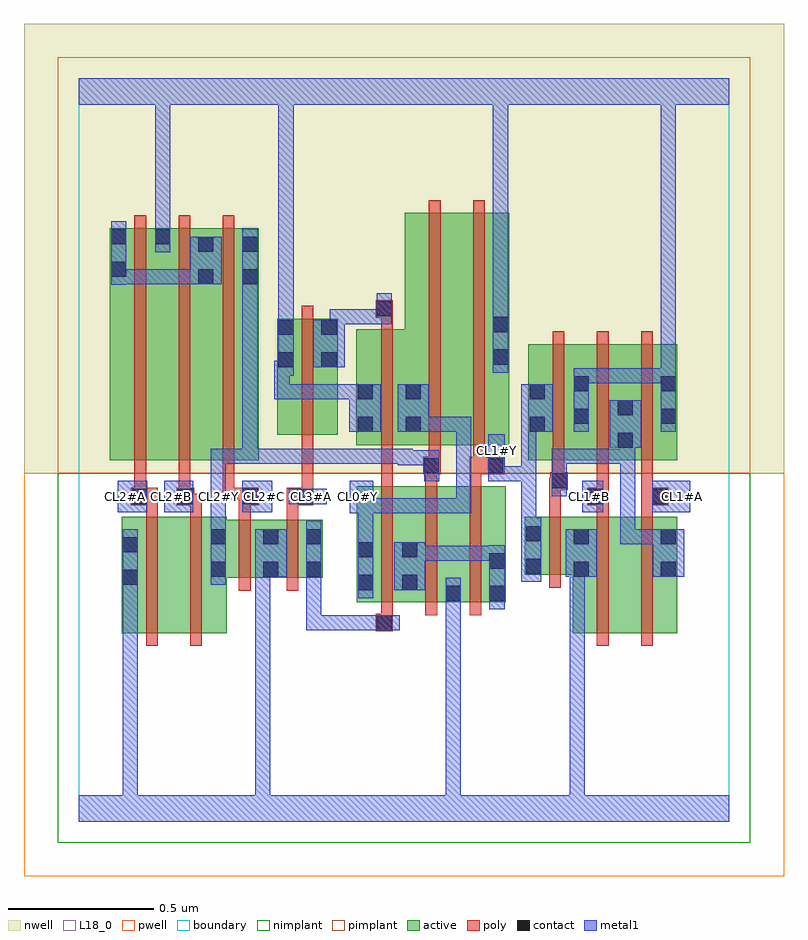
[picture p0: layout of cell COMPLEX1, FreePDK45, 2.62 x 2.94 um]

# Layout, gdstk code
import gdstk
lib = gdstk.Library(unit=1e-6, precision=1e-09)
def R(c, l, rs):  # rectangles x0, y0, x1, y1
    for r in rs: c.add(gdstk.rectangle(r[:2], r[2:], *l))
def A(c, l, x, y, w, h, nx, ny, dx, dy):  # array of equal rectangles
    R(c, l, [(x+i*dx, y+j*dy, x+i*dx+w, y+j*dy+h) for i in range(nx) for j in range(ny)])
active = (1, 0)
pwell = (2, 0)
nwell = (3, 0)
nimplant = (4, 0)
pimplant = (5, 0)
poly = (9, 0)
contact = (10, 0)
metal1 = (11, 0)
L18_0 = (18, 0)
boundary = (235, 0)

complex1 = lib.new_cell('COMPLEX1')
A(complex1, active, 1.11, 0.756, 0.06, 0.4, 3, 1, 0.15, 0)
A(complex1, active, 1.548, 1.244, 0.06, 0.4, 3, 1, 0.152, 0)
R(complex1, active, [(0.148,0.65,0.328,1.05), (0.148,0.65,0.208,1.05), (0.328,0.65,0.51,1.05), (0.45,0.65,0.51,1.012), (1.7,0.65,1.88,1.05), (1.88,0.65,2.06,1.05), (0.958,0.756,1.018,1.156), (0.958,0.756,1.17,1.156), (1.11,0.756,1.32,1.156), (1.26,0.756,1.47,1.156), (2,0.756,2.06,1.05), (0.45,0.84,0.692,1.04), (0.632,0.84,0.692,1.012), (0.632,0.84,0.84,1.04), (0.78,0.84,0.84,1.04), (1.7,0.84,1.76,1.012), (1.536,0.85,1.76,1.05), (1.536,0.85,1.596,1.05), (0.108,1.244,0.168,2.044), (0.108,1.244,0.32,2.044), (0.26,1.244,0.32,2.044), (0.26,1.244,0.468,2.044), (0.408,1.244,0.468,2.044), (0.408,1.244,0.62,2.044), (0.56,1.244,0.62,2.044), (1.548,1.244,1.76,1.644), (1.7,1.244,1.912,1.644), (1.852,1.244,2.06,1.644), (2,1.244,2.06,1.644), (0.956,1.296,1.016,1.696), (0.956,1.296,1.182,1.696), (1.122,1.296,1.302,2.096), (1.302,1.296,1.482,2.096), (1.422,1.296,1.482,2.096), (1.122,1.306,1.182,2.096), (0.684,1.332,0.744,1.732), (0.684,1.332,0.892,1.732), (0.832,1.332,0.892,1.732)])
R(complex1, pwell, [(-0.188,-0.188,2.428,1.2)])
R(complex1, nwell, [(-0.188,1.2,2.428,2.748)])
R(complex1, nimplant, [(-0.072,-0.072,2.312,1.2)])
R(complex1, pimplant, [(-0.072,1.2,2.312,2.632)])
A(complex1, poly, 1.042, 0.712, 0.04, 0.488, 3, 1, 0.152, 0)
A(complex1, poly, 0.192, 1.11, 0.04, 0.13, 3, 1, 0.152, 0)
A(complex1, poly, 1.042, 1.16, 0.04, 0.076, 3, 1, 0.152, 0)
A(complex1, poly, 0.192, 1.2, 0.04, 0.888, 3, 1, 0.152, 0)
A(complex1, poly, 1.632, 1.2, 0.04, 0.488, 3, 1, 0.152, 0)
R(complex1, poly, [(0.232,0.606,0.272,1.094), (0.384,0.606,0.424,1.094), (1.784,0.606,1.824,1.094), (1.936,0.606,1.976,1.094), (1.022,0.656,1.082,0.716), (1.042,0.676,1.082,0.752), (0.552,0.796,0.592,1.084), (0.716,0.796,0.756,1.084), (1.62,0.806,1.66,1.094), (0.552,1.044,0.592,1.13), (0.716,1.044,0.756,1.13), (0.232,1.054,0.272,1.13), (0.384,1.054,0.424,1.13), (1.62,1.054,1.66,1.184), (1.784,1.054,1.824,1.13), (1.936,1.054,1.976,1.13), (0.18,1.09,0.272,1.15), (0.338,1.09,0.398,1.15), (0.358,1.09,0.398,1.13), (0.358,1.09,0.424,1.13), (0.552,1.09,0.62,1.15), (0.716,1.09,0.808,1.15), (1.75,1.09,1.824,1.15), (1.936,1.09,1.976,1.13), (1.936,1.09,1.976,1.13), (1.936,1.09,2.03,1.15), (0.192,1.11,0.232,1.15), (0.192,1.11,0.232,1.15), (0.496,1.11,0.592,1.15), (0.552,1.11,0.592,1.15), (0.768,1.11,0.808,1.15), (0.768,1.11,0.808,1.15), (0.768,1.11,0.808,1.328), (1.784,1.11,1.824,1.24), (1.784,1.11,1.824,1.15), (1.784,1.11,1.824,1.15), (1.936,1.11,1.976,1.24), (1.62,1.144,1.664,1.184), (1.624,1.144,1.664,1.184), (1.624,1.144,1.684,1.204), (1.632,1.164,1.672,1.24), (1.042,1.196,1.082,1.236), (1.042,1.196,1.082,1.236), (1.042,1.196,1.082,1.236), (1.042,1.196,1.082,1.292), (1.186,1.196,1.246,1.256), (1.194,1.196,1.234,1.236), (1.194,1.196,1.234,1.236), (1.346,1.196,1.466,1.256), (1.206,1.216,1.246,1.292), (1.358,1.216,1.398,1.256), (1.358,1.216,1.398,1.256), (1.358,1.216,1.398,1.292), (1.042,1.252,1.082,1.74), (1.206,1.252,1.246,2.14), (1.358,1.252,1.398,2.14), (0.768,1.288,0.808,1.776), (1.042,1.7,1.082,1.776), (1.022,1.736,1.082,1.796)])
R(complex1, contact, [(1.026,0.66,1.078,0.712), (1.264,0.76,1.316,0.812), (1.414,0.76,1.466,0.812), (0.962,0.798,1.014,0.85), (1.114,0.798,1.166,0.85), (0.152,0.816,0.204,0.868), (0.454,0.844,0.506,0.896), (0.636,0.844,0.688,0.896), (0.784,0.844,0.836,0.896), (1.704,0.844,1.756,0.896), (2.004,0.844,2.056,0.896), (1.54,0.854,1.592,0.906), (1.414,0.872,1.466,0.924), (0.962,0.91,1.014,0.962), (1.114,0.91,1.166,0.962), (0.152,0.928,0.204,0.98), (0.454,0.956,0.506,1.008), (0.636,0.956,0.688,1.008), (0.784,0.956,0.836,1.008), (1.704,0.956,1.756,1.008), (2.004,0.956,2.056,1.008), (1.54,0.966,1.592,1.018), (0.184,1.094,0.236,1.146), (0.342,1.094,0.394,1.146), (0.564,1.094,0.616,1.146), (0.752,1.094,0.804,1.146), (1.754,1.094,1.806,1.146), (1.974,1.094,2.026,1.146), (1.628,1.148,1.68,1.2), (1.19,1.2,1.242,1.252), (1.41,1.2,1.462,1.252), (1.856,1.288,1.908,1.34), (0.96,1.342,1.012,1.394), (1.126,1.342,1.178,1.394), (1.552,1.342,1.604,1.394), (1.704,1.37,1.756,1.422), (2.004,1.37,2.056,1.422), (1.856,1.4,1.908,1.452), (0.96,1.454,1.012,1.506), (1.126,1.454,1.178,1.506), (1.552,1.454,1.604,1.506), (1.704,1.482,1.756,1.534), (2.004,1.482,2.056,1.534), (0.688,1.564,0.74,1.616), (0.836,1.564,0.888,1.616), (1.426,1.574,1.478,1.626), (0.688,1.676,0.74,1.728), (0.836,1.676,0.888,1.728), (1.426,1.686,1.478,1.738), (1.026,1.74,1.078,1.792), (0.412,1.85,0.464,1.902), (0.564,1.85,0.616,1.902), (0.112,1.876,0.164,1.928), (0.412,1.962,0.464,2.014), (0.564,1.962,0.616,2.014), (0.112,1.988,0.164,2.04), (0.264,1.988,0.316,2.04)])
A(complex1, metal1, 0.454, 1.232, 0.052, 0.052, 3, 1, 0.11, 0)
R(complex1, metal1, [(0,0,2.24,0.092), (0.152,0.04,0.204,0.092), (0.152,0.04,0.204,0.092), (0.152,0.04,0.204,0.092), (0.152,0.04,0.204,0.092), (0.152,0.04,0.204,0.092), (0.152,0.04,0.204,0.092), (0.152,0.04,0.204,0.092), (0.152,0.04,0.204,0.092), (0.152,0.04,0.204,0.092), (0.152,0.04,0.204,0.092), (0.152,0.04,0.204,0.092), (0.152,0.04,0.204,0.092), (0.152,0.04,0.204,0.84), (0.608,0.04,0.66,0.092), (0.608,0.04,0.66,0.092), (0.608,0.04,0.66,0.092), (0.608,0.04,0.66,0.092), (0.608,0.04,0.66,0.092), (0.608,0.04,0.66,0.092), (0.608,0.04,0.66,0.092), (0.608,0.04,0.66,0.092), (0.608,0.04,0.66,0.896), (1.264,0.04,1.316,0.092), (1.264,0.04,1.316,0.092), (1.264,0.04,1.316,0.092), (1.264,0.04,1.316,0.092), (1.264,0.04,1.316,0.092), (1.264,0.04,1.316,0.092), (1.264,0.04,1.316,0.784), (1.69,0.04,1.742,0.092), (1.69,0.04,1.742,0.092), (1.69,0.04,1.742,0.092), (1.69,0.04,1.742,0.092), (1.69,0.04,1.742,0.092), (1.69,0.04,1.742,0.092), (1.69,0.04,1.742,0.092), (1.69,0.04,1.742,0.092), (1.69,0.04,1.742,0.092), (1.69,0.04,1.742,0.092), (1.69,0.04,1.742,0.092), (1.69,0.04,1.742,0.092), (1.69,0.04,1.742,0.896), (0.784,0.66,0.836,0.712), (0.784,0.66,0.85,0.712), (0.784,0.66,0.836,0.868), (0.798,0.66,0.85,0.712), (0.798,0.66,1.05,0.712), (0.998,0.66,1.106,0.712), (1.264,0.732,1.316,0.784), (1.264,0.732,1.316,0.784), (1.264,0.732,1.316,0.784), (1.264,0.732,1.316,0.784), (1.264,0.732,1.316,0.784), (1.264,0.732,1.316,0.784), (1.264,0.732,1.316,0.84), (1.414,0.732,1.466,0.952), (0.962,0.77,1.014,0.99), (0.152,0.788,0.204,1.008), (1.086,0.798,1.194,0.962), (0.454,0.816,0.506,1.036), (0.784,0.816,0.836,0.868), (0.784,0.816,0.836,0.868), (0.784,0.816,0.836,0.868), (0.784,0.816,0.836,0.868), (0.784,0.816,0.836,1.036), (1.524,0.826,1.592,1.046), (0.608,0.844,0.66,0.896), (0.608,0.844,0.66,0.896), (0.608,0.844,0.66,0.896), (0.608,0.844,0.66,0.896), (0.608,0.844,0.66,0.896), (0.608,0.844,0.66,0.896), (0.608,0.844,0.66,0.896), (0.608,0.844,0.66,0.896), (0.608,0.844,0.716,1.008), (1.676,0.844,1.784,1.008), (1.976,0.844,2.084,1.008), (1.142,0.898,1.194,0.95), (1.142,0.898,1.194,0.95), (1.142,0.898,1.356,0.95), (1.304,0.898,1.356,0.95), (1.304,0.898,1.466,0.95), (1.414,0.898,1.466,0.95), (1.414,0.898,1.466,0.95), (0.962,0.938,1.014,1.114), (1.864,0.956,1.916,1.008), (1.864,0.956,2.028,1.008), (1.864,0.956,1.916,1.284), (1.976,0.956,2.028,1.008), (1.976,0.956,2.028,1.008), (1.976,0.956,2.028,1.008), (1.976,0.956,2.028,1.008), (0.454,0.984,0.506,1.118), (1.524,0.994,1.576,1.224), (0.934,1.062,1.014,1.174), (0.962,1.062,1.026,1.114), (0.974,1.062,1.026,1.114), (0.974,1.062,1.206,1.114), (1.154,1.062,1.206,1.114), (1.154,1.062,1.352,1.114), (1.3,1.062,1.352,1.114), (1.3,1.062,1.352,1.114), (1.3,1.062,1.352,1.114), (1.3,1.062,1.352,1.114), (1.3,1.062,1.352,1.114), (1.3,1.062,1.352,1.394), (0.134,1.066,0.236,1.174), (0.294,1.066,0.394,1.174), (0.454,1.066,0.506,1.174), (0.564,1.066,0.666,1.174), (1.734,1.066,1.806,1.174), (1.974,1.066,2.106,1.174), (0.724,1.094,0.854,1.146), (1.628,1.12,1.68,1.228), (0.454,1.122,0.506,1.284), (1.19,1.172,1.242,1.28), (1.41,1.172,1.466,1.334), (1.414,1.172,1.466,1.224), (1.414,1.172,1.466,1.224), (1.414,1.172,1.576,1.224), (1.524,1.172,1.576,1.224), (1.524,1.172,1.576,1.224), (1.524,1.172,1.576,1.224), (1.524,1.172,1.576,1.394), (1.628,1.176,1.68,1.228), (1.628,1.176,1.68,1.284), (1.098,1.228,1.242,1.28), (1.098,1.228,1.15,1.284), (0.454,1.232,0.506,1.284), (0.454,1.232,0.506,1.284), (0.454,1.232,0.616,1.284), (0.564,1.232,0.726,1.284), (0.564,1.232,0.616,1.874), (0.674,1.232,0.726,1.284), (0.674,1.232,0.726,1.284), (0.674,1.232,0.916,1.284), (0.864,1.232,0.916,1.284), (0.864,1.232,0.916,1.284), (0.864,1.232,0.916,1.284), (0.864,1.232,1.026,1.284), (0.974,1.232,1.026,1.284), (0.974,1.232,1.15,1.284), (1.628,1.232,1.916,1.284), (1.864,1.232,1.916,1.284), (1.864,1.232,1.916,1.284), (1.864,1.232,1.916,1.284), (1.864,1.232,1.916,1.34), (1.828,1.288,1.936,1.452), (0.932,1.342,1.04,1.506), (1.098,1.342,1.206,1.506), (1.154,1.342,1.206,1.394), (1.154,1.342,1.206,1.394), (1.154,1.342,1.352,1.394), (1.3,1.342,1.352,1.394), (1.524,1.342,1.632,1.506), (1.704,1.342,1.756,1.562), (2.004,1.342,2.056,1.562), (0.674,1.454,0.726,1.506), (0.674,1.454,0.726,1.506), (0.674,1.454,0.726,1.506), (0.674,1.454,0.726,1.506), (0.674,1.454,0.726,1.506), (0.674,1.454,0.916,1.506), (0.674,1.454,0.726,1.588), (0.864,1.454,0.916,1.506), (0.864,1.454,0.984,1.506), (1.704,1.51,1.866,1.562), (1.814,1.51,1.866,1.562), (1.814,1.51,1.866,1.562), (1.814,1.51,1.866,1.562), (1.814,1.51,2.056,1.562), (2.004,1.51,2.056,1.562), (2.004,1.51,2.056,1.562), (2.004,1.51,2.056,1.562), (2.004,1.51,2.056,1.562), (2.004,1.51,2.056,2.52), (0.674,1.536,0.74,1.588), (0.688,1.536,0.74,1.588), (0.688,1.536,0.74,1.756), (1.426,1.546,1.478,1.766), (0.808,1.564,0.916,1.728), (0.864,1.676,0.916,1.764), (0.688,1.704,0.74,2.52), (0.864,1.712,0.916,1.764), (0.864,1.712,0.916,1.764), (0.864,1.712,0.916,1.764), (0.864,1.712,1.078,1.764), (1.026,1.712,1.078,1.82), (1.426,1.714,1.478,2.52), (0.564,1.822,0.616,2.042), (0.112,1.848,0.164,2.068), (0.112,1.85,0.164,1.902), (0.112,1.85,0.164,1.902), (0.112,1.85,0.326,1.902), (0.274,1.85,0.326,1.902), (0.274,1.85,0.326,1.902), (0.274,1.85,0.326,1.902), (0.274,1.85,0.436,1.902), (0.384,1.85,0.492,2.014), (0.264,1.96,0.316,2.068), (0.264,2.016,0.316,2.52), (0,2.468,2.24,2.56), (0.264,2.468,0.316,2.52), (0.264,2.468,0.316,2.52), (0.264,2.468,0.316,2.52), (0.264,2.468,0.316,2.52), (0.264,2.468,0.316,2.52), (0.264,2.468,0.316,2.52), (0.264,2.468,0.316,2.52), (0.264,2.468,0.316,2.52), (0.688,2.468,0.74,2.52), (0.688,2.468,0.74,2.52), (0.688,2.468,0.74,2.52), (0.688,2.468,0.74,2.52), (0.688,2.468,0.74,2.52), (0.688,2.468,0.74,2.52), (0.688,2.468,0.74,2.52), (0.688,2.468,0.74,2.52), (0.688,2.468,0.74,2.52), (0.688,2.468,0.74,2.52), (0.688,2.468,0.74,2.52), (0.688,2.468,0.74,2.52), (0.688,2.468,0.74,2.52), (0.688,2.468,0.74,2.52), (0.688,2.468,0.74,2.52), (0.688,2.468,0.74,2.52), (1.426,2.468,1.478,2.52), (1.426,2.468,1.478,2.52), (1.426,2.468,1.478,2.52), (1.426,2.468,1.478,2.52), (1.426,2.468,1.478,2.52), (1.426,2.468,1.478,2.52), (1.426,2.468,1.478,2.52), (1.426,2.468,1.478,2.52), (2.004,2.468,2.056,2.52), (2.004,2.468,2.056,2.52), (2.004,2.468,2.056,2.52), (2.004,2.468,2.056,2.52), (2.004,2.468,2.056,2.52), (2.004,2.468,2.056,2.52), (2.004,2.468,2.056,2.52), (2.004,2.468,2.056,2.52), (2.004,2.468,2.056,2.52), (2.004,2.468,2.056,2.52), (2.004,2.468,2.056,2.52), (2.004,2.468,2.056,2.52), (2.004,2.468,2.056,2.52), (2.004,2.468,2.056,2.52)])
A(complex1, L18_0, 0.134, 1.094, 0.052, 0.052, 6, 1, 0.16, 0)
A(complex1, L18_0, 0.454, 1.232, 0.052, 0.052, 3, 1, 0.11, 0)
R(complex1, L18_0, [(0,0,2.24,0.092), (0.152,0.04,0.204,0.092), (0.152,0.04,0.204,0.092), (0.152,0.04,0.204,0.092), (0.152,0.04,0.204,0.092), (0.152,0.04,0.204,0.092), (0.152,0.04,0.204,0.092), (0.152,0.04,0.204,0.092), (0.152,0.04,0.204,0.092), (0.152,0.04,0.204,0.092), (0.152,0.04,0.204,0.092), (0.152,0.04,0.204,0.092), (0.152,0.04,0.204,0.092), (0.152,0.04,0.204,0.84), (0.608,0.04,0.66,0.092), (0.608,0.04,0.66,0.092), (0.608,0.04,0.66,0.092), (0.608,0.04,0.66,0.092), (0.608,0.04,0.66,0.092), (0.608,0.04,0.66,0.092), (0.608,0.04,0.66,0.092), (0.608,0.04,0.66,0.092), (0.608,0.04,0.66,0.896), (1.264,0.04,1.316,0.092), (1.264,0.04,1.316,0.092), (1.264,0.04,1.316,0.092), (1.264,0.04,1.316,0.092), (1.264,0.04,1.316,0.092), (1.264,0.04,1.316,0.092), (1.264,0.04,1.316,0.784), (1.69,0.04,1.742,0.092), (1.69,0.04,1.742,0.092), (1.69,0.04,1.742,0.092), (1.69,0.04,1.742,0.092), (1.69,0.04,1.742,0.092), (1.69,0.04,1.742,0.092), (1.69,0.04,1.742,0.092), (1.69,0.04,1.742,0.092), (1.69,0.04,1.742,0.092), (1.69,0.04,1.742,0.092), (1.69,0.04,1.742,0.092), (1.69,0.04,1.742,0.092), (1.69,0.04,1.742,0.896), (1.264,0.732,1.316,0.784), (1.264,0.732,1.316,0.784), (1.264,0.732,1.316,0.784), (1.264,0.732,1.316,0.784), (1.264,0.732,1.316,0.784), (1.264,0.732,1.316,0.784), (1.264,0.732,1.316,0.84), (0.962,0.77,1.014,0.99), (0.152,0.788,0.204,1.008), (0.454,0.816,0.506,1.036), (1.524,0.826,1.592,1.046), (0.608,0.844,0.66,0.896), (0.608,0.844,0.66,0.896), (0.608,0.844,0.66,0.896), (0.608,0.844,0.66,0.896), (0.608,0.844,0.66,0.896), (0.608,0.844,0.66,0.896), (0.608,0.844,0.66,0.896), (0.608,0.844,0.66,0.896), (0.608,0.844,0.716,1.008), (1.676,0.844,1.784,1.008), (0.962,0.938,1.014,1.114), (0.454,0.984,0.506,1.118), (1.524,0.994,1.576,1.224), (0.934,1.062,1.014,1.174), (0.962,1.062,1.026,1.114), (0.974,1.062,1.026,1.114), (0.974,1.062,1.206,1.114), (1.154,1.062,1.206,1.114), (1.154,1.062,1.352,1.114), (1.3,1.062,1.352,1.114), (1.3,1.062,1.352,1.114), (1.3,1.062,1.352,1.114), (1.3,1.062,1.352,1.114), (1.3,1.062,1.352,1.114), (1.3,1.062,1.352,1.394), (0.134,1.066,0.236,1.174), (0.294,1.066,0.394,1.174), (0.454,1.066,0.506,1.174), (0.564,1.066,0.666,1.174), (1.734,1.066,1.806,1.174), (1.974,1.066,2.106,1.174), (0.724,1.094,0.854,1.146), (1.734,1.094,1.786,1.146), (2.054,1.094,2.106,1.146), (0.454,1.122,0.506,1.284), (1.19,1.172,1.242,1.28), (1.41,1.172,1.466,1.334), (1.414,1.172,1.466,1.224), (1.414,1.172,1.466,1.224), (1.414,1.172,1.576,1.224), (1.524,1.172,1.576,1.224), (1.524,1.172,1.576,1.224), (1.524,1.172,1.576,1.224), (1.524,1.172,1.576,1.394), (1.098,1.228,1.15,1.284), (1.098,1.228,1.242,1.28), (0.454,1.232,0.506,1.284), (0.454,1.232,0.506,1.284), (0.454,1.232,0.616,1.284), (0.564,1.232,0.726,1.284), (0.564,1.232,0.616,1.874), (0.674,1.232,0.726,1.284), (0.674,1.232,0.726,1.284), (0.674,1.232,0.916,1.284), (0.864,1.232,0.916,1.284), (0.864,1.232,0.916,1.284), (0.864,1.232,0.916,1.284), (0.864,1.232,1.026,1.284), (0.974,1.232,1.026,1.284), (0.974,1.232,1.15,1.284), (1.414,1.254,1.466,1.306), (0.932,1.342,1.04,1.506), (1.098,1.342,1.206,1.506), (1.154,1.342,1.206,1.394), (1.154,1.342,1.206,1.394), (1.154,1.342,1.352,1.394), (1.3,1.342,1.352,1.394), (1.524,1.342,1.632,1.506), (1.704,1.342,1.756,1.562), (2.004,1.342,2.056,1.562), (0.674,1.454,0.726,1.506), (0.674,1.454,0.726,1.506), (0.674,1.454,0.726,1.506), (0.674,1.454,0.726,1.506), (0.674,1.454,0.726,1.506), (0.674,1.454,0.726,1.588), (0.674,1.454,0.916,1.506), (0.864,1.454,0.916,1.506), (0.864,1.454,0.984,1.506), (1.704,1.51,1.866,1.562), (1.814,1.51,1.866,1.562), (1.814,1.51,1.866,1.562), (1.814,1.51,1.866,1.562), (1.814,1.51,2.056,1.562), (2.004,1.51,2.056,1.562), (2.004,1.51,2.056,1.562), (2.004,1.51,2.056,1.562), (2.004,1.51,2.056,1.562), (2.004,1.51,2.056,2.52), (0.674,1.536,0.74,1.588), (0.688,1.536,0.74,1.588), (0.688,1.536,0.74,1.756), (1.426,1.546,1.478,1.766), (0.688,1.704,0.74,2.52), (1.426,1.714,1.478,2.52), (0.564,1.822,0.616,2.042), (0.264,1.96,0.316,2.068), (0.264,2.016,0.316,2.52), (0,2.468,2.24,2.56), (0.264,2.468,0.316,2.52), (0.264,2.468,0.316,2.52), (0.264,2.468,0.316,2.52), (0.264,2.468,0.316,2.52), (0.264,2.468,0.316,2.52), (0.264,2.468,0.316,2.52), (0.264,2.468,0.316,2.52), (0.264,2.468,0.316,2.52), (0.688,2.468,0.74,2.52), (0.688,2.468,0.74,2.52), (0.688,2.468,0.74,2.52), (0.688,2.468,0.74,2.52), (0.688,2.468,0.74,2.52), (0.688,2.468,0.74,2.52), (0.688,2.468,0.74,2.52), (0.688,2.468,0.74,2.52), (0.688,2.468,0.74,2.52), (0.688,2.468,0.74,2.52), (0.688,2.468,0.74,2.52), (0.688,2.468,0.74,2.52), (0.688,2.468,0.74,2.52), (0.688,2.468,0.74,2.52), (0.688,2.468,0.74,2.52), (0.688,2.468,0.74,2.52), (1.426,2.468,1.478,2.52), (1.426,2.468,1.478,2.52), (1.426,2.468,1.478,2.52), (1.426,2.468,1.478,2.52), (1.426,2.468,1.478,2.52), (1.426,2.468,1.478,2.52), (1.426,2.468,1.478,2.52), (1.426,2.468,1.478,2.52), (2.004,2.468,2.056,2.52), (2.004,2.468,2.056,2.52), (2.004,2.468,2.056,2.52), (2.004,2.468,2.056,2.52), (2.004,2.468,2.056,2.52), (2.004,2.468,2.056,2.52), (2.004,2.468,2.056,2.52), (2.004,2.468,2.056,2.52), (2.004,2.468,2.056,2.52), (2.004,2.468,2.056,2.52), (2.004,2.468,2.056,2.52), (2.004,2.468,2.056,2.52), (2.004,2.468,2.056,2.52), (2.004,2.468,2.056,2.52)])
R(complex1, boundary, [(0,0,2.24,2.56)])
complex1.add(gdstk.Label('CL0#Y', (0.96,1.12), layer=11, texttype=0))
complex1.add(gdstk.Label('CL1#A', (2.08,1.12), layer=11, texttype=0))
complex1.add(gdstk.Label('CL1#B', (1.76,1.12), layer=11, texttype=0))
complex1.add(gdstk.Label('CL1#Y', (1.44,1.28), layer=11, texttype=0))
complex1.add(gdstk.Label('CL2#A', (0.16,1.12), layer=11, texttype=0))
complex1.add(gdstk.Label('CL2#B', (0.32,1.12), layer=11, texttype=0))
complex1.add(gdstk.Label('CL2#C', (0.64,1.12), layer=11, texttype=0))
complex1.add(gdstk.Label('CL2#Y', (0.48,1.12), layer=11, texttype=0))
complex1.add(gdstk.Label('CL3#A', (0.8,1.12), layer=11, texttype=0))

lib.write_gds('COMPLEX1.gds')
